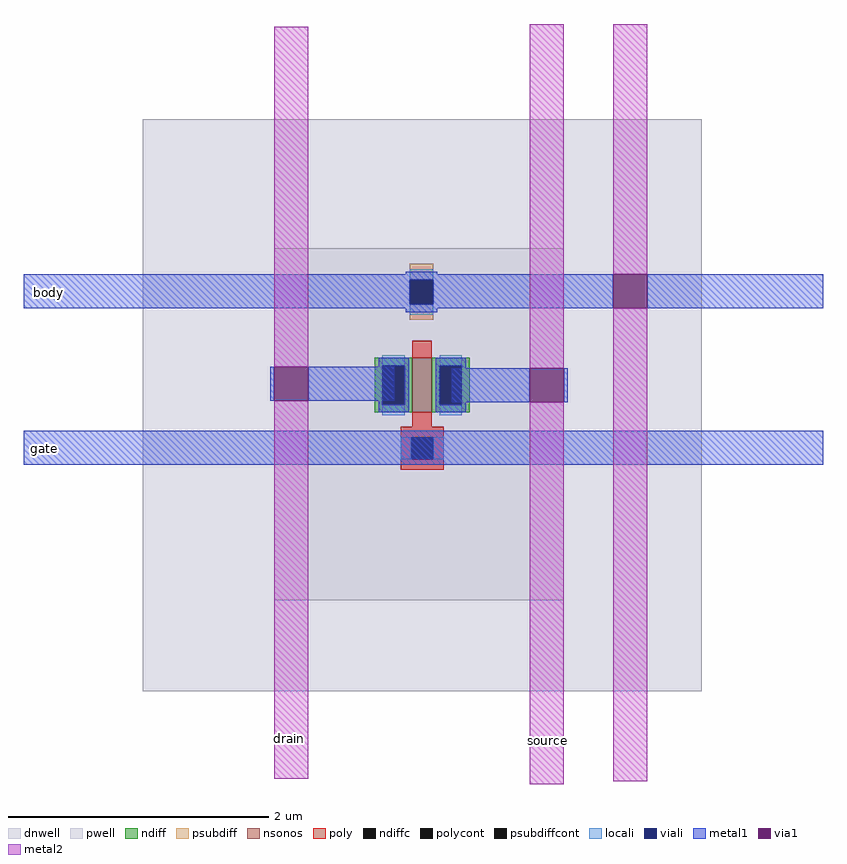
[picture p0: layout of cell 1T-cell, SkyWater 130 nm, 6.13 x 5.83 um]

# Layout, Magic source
magic
tech sky130A
magscale 1 2
<< pwell >>
rect 202 140 646 680
<< psubdiff >>
rect 410 632 446 656
rect 410 570 446 594
<< psubdiffcont >>
rect 410 594 446 632
<< locali >>
rect 410 632 446 648
rect 410 578 446 594
<< viali >>
rect 410 594 446 632
<< metal1 >>
rect 404 640 452 644
rect -182 632 722 640
rect -182 594 410 632
rect 446 594 722 632
rect -182 588 722 594
rect 774 588 1044 640
rect 404 582 452 588
rect 196 446 202 498
rect 254 446 386 498
rect 474 444 594 496
rect 646 444 652 496
rect -182 348 1044 400
<< via1 >>
rect 722 588 774 640
rect 202 446 254 498
rect 594 444 646 496
<< metal2 >>
rect 202 498 254 1020
rect 202 -134 254 446
rect 594 496 646 1024
rect 594 -142 646 444
rect 722 640 774 1024
rect 722 -138 774 588
use sky130_fd_bs_flash__special_sonosfet_star_ocehe0  sky130_fd_bs_flash__special_sonosfet_star_ocehe0_0
transform 1 0 429 0 1 439
box -429 -439 429 439
<< labels >>
flabel metal1 -164 362 -138 382 0 FreeSans 800 0 0 0 gate
port 0 nsew
flabel metal2 212 -82 238 -62 0 FreeSans 800 0 0 0 drain
port 1 nsew
flabel metal2 608 -86 634 -66 0 FreeSans 800 0 0 0 source
port 2 nsew
flabel metal1 -158 602 -132 622 0 FreeSans 800 0 0 0 body
port 4 nsew
<< end >>

# cell sky130_fd_bs_flash__special_sonosfet_star_ocehe0: kit device sky130_fd_bs_flash__special_sonosfet_star, w 0.420 l 0.150 m 1 nf 1 diffcov 100 polycov 100 guard 0 glc 0 grc 0 gtc 0 gbc 0 tbcov 100 rlcov 100 topc 0 botc 1 poverlap 0 doverlap 1 lmin 0.15 wmin 0.42 compatible {sky130_fd_pr__nfet_01v8 sky130_fd_pr__nfet_01v8_lvt sky130_fd_bs_flash__special_sonosfet_star sky130_fd_pr__nfet_g5v0d10v5 sky130_fd_pr__nfet_05v0_nvt} full_metal 0 viasrc 100 viadrn 100 viagate 100 viagb 0 viagr 0 viagl 0 viagt 0
